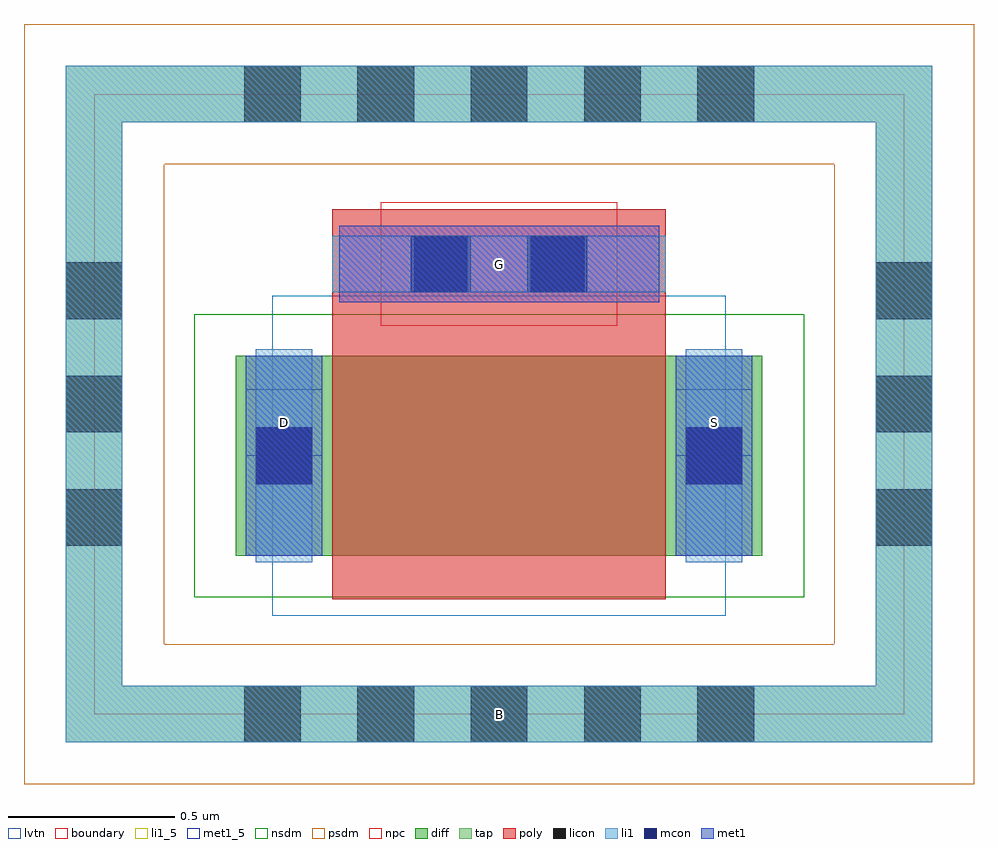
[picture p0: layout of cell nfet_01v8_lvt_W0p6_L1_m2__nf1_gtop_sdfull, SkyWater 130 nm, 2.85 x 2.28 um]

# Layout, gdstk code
import gdstk
lib = gdstk.Library(unit=1e-6, precision=1e-09)
def R(c, l, rs):  # rectangles x0, y0, x1, y1
    for r in rs: c.add(gdstk.rectangle(r[:2], r[2:], *l))
def A(c, l, x, y, w, h, nx, ny, dx, dy):  # array of equal rectangles
    R(c, l, [(x+i*dx, y+j*dy, x+i*dx+w, y+j*dy+h) for i in range(nx) for j in range(ny)])
diff = (65, 20)
tap = (65, 44)
poly = (66, 20)
licon = (66, 44)
li1_5 = (67, 5)
li1 = (67, 20)
mcon = (67, 44)
met1_5 = (68, 5)
met1 = (68, 20)
nsdm = (93, 44)
psdm = (94, 20)
npc = (95, 20)
lvtn = (125, 44)
boundary = (235, 4)

sky130_fd_pr__nfet_01v8_ = lib.new_cell('sky130_fd_pr__nfet_01v8_lvt_ELTGRQ')
R(sky130_fd_pr__nfet_01v8_, diff, [(-0.79,-0.455,0.79,0.145)])
R(sky130_fd_pr__nfet_01v8_, tap, [(-1.3,-1.015,1.3,-0.845), (-1.3,-0.845,-1.13,0.845), (1.13,-0.845,1.3,0.845), (-1.3,0.845,1.3,1.015)])
R(sky130_fd_pr__nfet_01v8_, poly, [(-0.5,-0.585,0.5,0.585)])
A(sky130_fd_pr__nfet_01v8_, licon, -0.765, -1.015, 0.17, 0.17, 5, 2, 0.34, 1.86)
A(sky130_fd_pr__nfet_01v8_, licon, -1.3, -0.425, 0.17, 0.17, 1, 3, 0, 0.34)
A(sky130_fd_pr__nfet_01v8_, licon, 1.13, -0.425, 0.17, 0.17, 1, 3, 0, 0.34)
R(sky130_fd_pr__nfet_01v8_, licon, [(-0.73,-0.24,-0.56,-0.07), (0.56,-0.24,0.73,-0.07), (-0.255,0.335,-0.085,0.505), (0.085,0.335,0.255,0.505)])
R(sky130_fd_pr__nfet_01v8_, li1, [(-1.3,-1.015,1.3,-0.845), (-1.3,-0.845,-1.13,0.845), (1.13,-0.845,1.3,0.845), (-0.73,-0.475,-0.56,0.165), (0.56,-0.475,0.73,0.165), (-0.5,0.335,0.5,0.505), (-1.3,0.845,1.3,1.015)])
R(sky130_fd_pr__nfet_01v8_, mcon, [(-0.73,-0.24,-0.56,-0.07), (0.56,-0.24,0.73,-0.07), (-0.265,0.335,-0.095,0.505), (0.095,0.335,0.265,0.505)])
R(sky130_fd_pr__nfet_01v8_, met1, [(-0.76,-0.455,-0.53,0.145), (0.53,-0.455,0.76,0.145), (-0.48,0.305,0.48,0.535)])
R(sky130_fd_pr__nfet_01v8_, nsdm, [(-0.915,-0.58,0.915,0.27)])
R(sky130_fd_pr__nfet_01v8_, psdm, [(-1.425,-1.14,1.425,-0.72), (-1.425,-0.72,-1.005,0.72), (1.005,-0.72,1.425,0.72), (-1.425,0.72,1.425,1.14)])
R(sky130_fd_pr__nfet_01v8_, npc, [(-0.355,0.235,0.355,0.605)])
R(sky130_fd_pr__nfet_01v8_, lvtn, [(-0.68,-0.635,0.68,0.325)])
R(sky130_fd_pr__nfet_01v8_, boundary, [(-1.215,-0.93,1.215,0.93)])
sky130_fd_pr__nfet_01v8_.add(gdstk.Label('B', (0,-0.93), layer=67, texttype=5))
sky130_fd_pr__nfet_01v8_.add(gdstk.Label('D', (-0.645,-0.155), layer=67, texttype=5))
sky130_fd_pr__nfet_01v8_.add(gdstk.Label('S', (0.645,-0.155), layer=67, texttype=5))
sky130_fd_pr__nfet_01v8_.add(gdstk.Label('G', (0,0.42), layer=67, texttype=5))

nfet_01v8_lvt_w0p6_l1_m2 = lib.new_cell('nfet_01v8_lvt_W0p6_L1_m2__nf1_gtop_sdfull')
R(nfet_01v8_lvt_w0p6_l1_m2, li1_5, [(1.13,-0.085,1.3,0.085)])
R(nfet_01v8_lvt_w0p6_l1_m2, li1, [(1.13,-0.085,1.3,0.085)])
R(nfet_01v8_lvt_w0p6_l1_m2, met1_5, [(0.455,0.775,0.685,0.975), (1.745,0.775,1.975,0.975), (0.735,1.235,1.695,1.465)])
R(nfet_01v8_lvt_w0p6_l1_m2, met1, [(0.455,0.775,0.685,0.975), (1.745,0.775,1.975,0.975), (0.735,1.235,1.695,1.465)])
nfet_01v8_lvt_w0p6_l1_m2.add(gdstk.Reference(sky130_fd_pr__nfet_01v8_, (1.215,0.93)))
nfet_01v8_lvt_w0p6_l1_m2.add(gdstk.Label('D', (0.57,0.875), layer=68, texttype=5))
nfet_01v8_lvt_w0p6_l1_m2.add(gdstk.Label('S', (1.86,0.875), layer=68, texttype=5))
nfet_01v8_lvt_w0p6_l1_m2.add(gdstk.Label('G', (1.215,1.35), layer=68, texttype=5))
nfet_01v8_lvt_w0p6_l1_m2.add(gdstk.Label('B', (1.215,0), layer=67, texttype=5))

lib.write_gds('nfet_01v8_lvt_W0p6_L1_m2__nf1_gtop_sdfull.gds')
